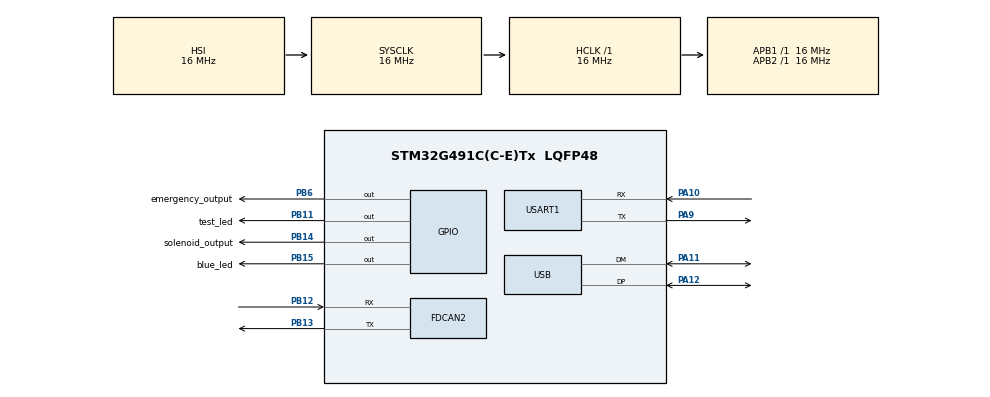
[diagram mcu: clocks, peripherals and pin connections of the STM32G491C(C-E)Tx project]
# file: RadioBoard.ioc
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FDCAN2.CalculateBaudRateNominal=333333
FDCAN2.CalculateTimeBitNominal=3000
FDCAN2.CalculateTimeQuantumNominal=1000.0
Mcu.Family=STM32G4
Mcu.Name=STM32G491C(C-E)Tx
Mcu.Package=LQFP48
NVIC.PriorityGroup=NVIC_PRIORITYGROUP_4
NVIC.USB_LP_IRQn=true\:0\:0\:false\:false\:true\:false\:true\:true
PA10.Mode=Asynchronous
PA10.Signal=USART1_RX
PA11.Mode=Device
PA11.Signal=USB_DM
PA12.Mode=Device
PA12.Signal=USB_DP
PA9.Mode=Asynchronous
PA9.Signal=USART1_TX
PB11.GPIO_Label=test_led
PB11.Signal=GPIO_Output
PB12.Mode=FDCAN_Activate
PB12.Signal=FDCAN2_RX
PB13.Mode=FDCAN_Activate
PB13.Signal=FDCAN2_TX
PB14.GPIO_Label=solenoid_output
PB14.Signal=GPIO_Output
PB15.GPIO_Label=blue_led
PB15.Signal=GPIO_Output
PB6.GPIO_Label=emergency_output
PB6.Signal=GPIO_Output
PC14-OSC32_IN.Mode=LSE-External-Oscillator
PC14-OSC32_IN.Signal=RCC_OSC32_IN
PC15-OSC32_OUT.Mode=LSE-External-Oscillator
PC15-OSC32_OUT.Signal=RCC_OSC32_OUT
PF0-OSC_IN.Mode=HSE-External-Oscillator
PF0-OSC_IN.Signal=RCC_OSC_IN
PF1-OSC_OUT.Mode=HSE-External-Oscillator
PF1-OSC_OUT.Signal=RCC_OSC_OUT
ProjectManager.HeapSize=0x200
ProjectManager.StackSize=0x400
ProjectManager.TargetToolchain=CMake
RCC.AHBFreq_Value=16000000
RCC.APB1Freq_Value=16000000
RCC.APB1TimFreq_Value=16000000
RCC.APB2Freq_Value=16000000
RCC.APB2TimFreq_Value=16000000
RCC.CortexFreq_Value=16000000
RCC.EXTERNAL_CLOCK_VALUE=12288000
RCC.HCLKFreq_Value=16000000
RCC.HSE_VALUE=8000000
RCC.HSI48_VALUE=48000000
RCC.HSI_VALUE=16000000
RCC.SYSCLKFreq_VALUE=16000000
RCC.VCOOutputFreq_Value=128000000
USART1.VirtualMode-Asynchronous=VM_ASYNC
USB_DEVICE.CLASS_NAME_FS=CDC
USB_DEVICE.VirtualMode=Cdc
USB_DEVICE.VirtualModeFS=Cdc_FS
VP_SYS_VS_DBSignals.Mode=DisableDeadBatterySignals
VP_USB_DEVICE_VS_USB_DEVICE_CDC_FS.Mode=CDC_FS
board=custom

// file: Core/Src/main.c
/* USER CODE BEGIN Header */
/**
  ******************************************************************************
  * @file           : main.c
  * @brief          : Main program body
  ******************************************************************************
  * @attention
  *
  * Copyright (c) 2025 STMicroelectronics.
  * All rights reserved.
  *
  * This software is licensed under terms that can be found in the LICENSE file
  * in the root directory of this software component.
  * If no LICENSE file comes with this software, it is provided AS-IS.
  *
  ******************************************************************************
  */
/* USER CODE END Header */
#include "main.h"
#include "usb_device.h"

/* USER CODE BEGIN Includes */
#include <string.h>
#include "usbd_cdc_if.h"
/* USER CODE END Includes */

FDCAN_HandleTypeDef hfdcan2;

UART_HandleTypeDef huart1;

void SystemClock_Config(void);
static void MX_GPIO_Init(void);
static void MX_FDCAN2_Init(void);
static void MX_USART1_UART_Init(void);

int main(void)
{

  /* MCU Configuration--------------------------------------------------------*/

  /* Reset of all peripherals, Initializes the Flash interface and the Systick. */
  HAL_Init();

  /* Configure the system clock */
  SystemClock_Config();

  /* Initialize all configured peripherals */
  MX_GPIO_Init();
  MX_FDCAN2_Init();
  MX_USART1_UART_Init();
  MX_USB_Device_Init();
  /* USER CODE BEGIN 2 */
  HAL_GPIO_WritePin(blue_led_GPIO_Port, blue_led_Pin, GPIO_PIN_SET);
  HAL_GPIO_WritePin(solenoid_output_GPIO_Port, solenoid_output_Pin, GPIO_PIN_RESET);

  FDCAN_FilterTypeDef sFilterConfig;
  sFilterConfig.IdType = FDCAN_STANDARD_ID;
  sFilterConfig.FilterIndex = 0;
  sFilterConfig.FilterType = FDCAN_FILTER_MASK;
  sFilterConfig.FilterConfig = FDCAN_FILTER_TO_RXFIFO0;
  sFilterConfig.FilterID1 = 0x001;
  sFilterConfig.FilterID2 = 0x7FF;
  if (HAL_FDCAN_ConfigFilter(&hfdcan2, &sFilterConfig) != HAL_OK)
  {
    Error_Handler();
  }
  if (HAL_FDCAN_Start(&hfdcan2) != HAL_OK)
  {
    Error_Handler();
  }

  FDCAN_RxHeaderTypeDef rxHeader;
  uint8_t rx_data[8];

  /* USER CODE END 2 */

  /* Infinite loop */
  while (1)
  {

    /* USER CODE BEGIN 3 */
    if (HAL_FDCAN_GetRxFifoFillLevel(&hfdcan2, FDCAN_RX_FIFO0) > 0)
    {
      if (HAL_FDCAN_GetRxMessage(&hfdcan2, FDCAN_RX_FIFO0, &rxHeader, rx_data) == HAL_OK)
      {
        if (rxHeader.Identifier == 0x01 && rxHeader.DataLength == FDCAN_DLC_BYTES_8)
        {
          uint8_t calculated_checksum = rx_data[0] ^ rx_data[1] ^ rx_data[2] ^ rx_data[3] ^
                                        rx_data[4] ^ rx_data[5] ^ rx_data[6];

          if (calculated_checksum == rx_data[7])
          {
            uint8_t radio_packet[8];
            radio_packet[0] = 0x01;
            memcpy(&radio_packet[1], rx_data, 6);
            radio_packet[7] = '\n';
            HAL_UART_Transmit(&huart1, radio_packet, 8, 10);
            HAL_GPIO_TogglePin(blue_led_GPIO_Port, blue_led_Pin);
          }
        }
      }
    }

    uint8_t rx_byte;
    HAL_StatusTypeDef status = HAL_UART_Receive(&huart1, &rx_byte, 1, 1);

    if (status == HAL_OK)
    {
      printf("Received byte: %c (0x%02X)\r\n", rx_byte, rx_byte);
      if (rx_byte == 'V')
      {
        HAL_GPIO_TogglePin(test_led_GPIO_Port, test_led_Pin);
        HAL_GPIO_TogglePin(solenoid_output_GPIO_Port, solenoid_output_Pin);
      }
    }

    HAL_Delay(10);
  }
  /* USER CODE END 3 */
}

void SystemClock_Config(void)
{
  RCC_OscInitTypeDef RCC_OscInitStruct = {0};
  RCC_ClkInitTypeDef RCC_ClkInitStruct = {0};

  /** Configure the main internal regulator output voltage
  */
  HAL_PWREx_ControlVoltageScaling(PWR_REGULATOR_VOLTAGE_SCALE1);

  /** Initializes the RCC Oscillators according to the specified parameters
  * in the RCC_OscInitTypeDef structure.
  */
  RCC_OscInitStruct.OscillatorType = RCC_OSCILLATORTYPE_HSI|RCC_OSCILLATORTYPE_HSI48;
  RCC_OscInitStruct.HSIState = RCC_HSI_ON;
  RCC_OscInitStruct.HSICalibrationValue = RCC_HSICALIBRATION_DEFAULT;
  RCC_OscInitStruct.HSI48State = RCC_HSI48_ON;
  RCC_OscInitStruct.PLL.PLLState = RCC_PLL_NONE;
  if (HAL_RCC_OscConfig(&RCC_OscInitStruct) != HAL_OK)
  {
    Error_Handler();
  }

  /** Initializes the CPU, AHB and APB buses clocks
  */
  RCC_ClkInitStruct.ClockType = RCC_CLOCKTYPE_HCLK|RCC_CLOCKTYPE_SYSCLK
                              |RCC_CLOCKTYPE_PCLK1|RCC_CLOCKTYPE_PCLK2;
  RCC_ClkInitStruct.SYSCLKSource = RCC_SYSCLKSOURCE_HSI;
  RCC_ClkInitStruct.AHBCLKDivider = RCC_SYSCLK_DIV1;
  RCC_ClkInitStruct.APB1CLKDivider = RCC_HCLK_DIV1;
  RCC_ClkInitStruct.APB2CLKDivider = RCC_HCLK_DIV1;

  if (HAL_RCC_ClockConfig(&RCC_ClkInitStruct, FLASH_LATENCY_0) != HAL_OK)
  {
    Error_Handler();
  }
}

static void MX_FDCAN2_Init(void)
{

  hfdcan2.Instance = FDCAN2;
  hfdcan2.Init.ClockDivider = FDCAN_CLOCK_DIV1;
  hfdcan2.Init.FrameFormat = FDCAN_FRAME_CLASSIC;
  hfdcan2.Init.Mode = FDCAN_MODE_NORMAL;
  hfdcan2.Init.AutoRetransmission = DISABLE;
  hfdcan2.Init.TransmitPause = DISABLE;
  hfdcan2.Init.ProtocolException = DISABLE;
  hfdcan2.Init.NominalPrescaler = 2;
  hfdcan2.Init.NominalSyncJumpWidth = 1;
  hfdcan2.Init.NominalTimeSeg1 = 13;
  hfdcan2.Init.NominalTimeSeg2 = 2;
  hfdcan2.Init.DataPrescaler = 1;
  hfdcan2.Init.DataSyncJumpWidth = 1;
  hfdcan2.Init.DataTimeSeg1 = 1;
  hfdcan2.Init.DataTimeSeg2 = 1;
  hfdcan2.Init.StdFiltersNbr = 0;
  hfdcan2.Init.ExtFiltersNbr = 0;
  hfdcan2.Init.TxFifoQueueMode = FDCAN_TX_FIFO_OPERATION;
  if (HAL_FDCAN_Init(&hfdcan2) != HAL_OK)
  {
    Error_Handler();
  }

}

static void MX_USART1_UART_Init(void)
{

  huart1.Instance = USART1;
  huart1.Init.BaudRate = 57600;
  huart1.Init.WordLength = UART_WORDLENGTH_8B;
  huart1.Init.StopBits = UART_STOPBITS_1;
  huart1.Init.Parity = UART_PARITY_NONE;
  huart1.Init.Mode = UART_MODE_TX_RX;
  huart1.Init.HwFlowCtl = UART_HWCONTROL_NONE;
  huart1.Init.OverSampling = UART_OVERSAMPLING_16;
  huart1.Init.OneBitSampling = UART_ONE_BIT_SAMPLE_DISABLE;
  huart1.Init.ClockPrescaler = UART_PRESCALER_DIV1;
  huart1.AdvancedInit.AdvFeatureInit = UART_ADVFEATURE_NO_INIT;
  if (HAL_UART_Init(&huart1) != HAL_OK)
  {
    Error_Handler();
  }
  if (HAL_UARTEx_SetTxFifoThreshold(&huart1, UART_TXFIFO_THRESHOLD_1_8) != HAL_OK)
  {
    Error_Handler();
  }
  if (HAL_UARTEx_SetRxFifoThreshold(&huart1, UART_RXFIFO_THRESHOLD_1_8) != HAL_OK)
  {
    Error_Handler();
  }
  if (HAL_UARTEx_DisableFifoMode(&huart1) != HAL_OK)
  {
    Error_Handler();
  }

}

static void MX_GPIO_Init(void)
{
  GPIO_InitTypeDef GPIO_InitStruct = {0};

  /* GPIO Ports Clock Enable */
  __HAL_RCC_GPIOC_CLK_ENABLE();
  __HAL_RCC_GPIOF_CLK_ENABLE();
  __HAL_RCC_GPIOB_CLK_ENABLE();
  __HAL_RCC_GPIOA_CLK_ENABLE();

  /*Configure GPIO pin Output Level */
  HAL_GPIO_WritePin(GPIOB, test_led_Pin|solenoid_output_Pin|blue_led_Pin|emergency_output_Pin, GPIO_PIN_RESET);

  /*Configure GPIO pins : test_led_Pin solenoid_output_Pin blue_led_Pin emergency_output_Pin */
  GPIO_InitStruct.Pin = test_led_Pin|solenoid_output_Pin|blue_led_Pin|emergency_output_Pin;
  GPIO_InitStruct.Mode = GPIO_MODE_OUTPUT_PP;
  GPIO_InitStruct.Pull = GPIO_NOPULL;
  GPIO_InitStruct.Speed = GPIO_SPEED_FREQ_LOW;
  HAL_GPIO_Init(GPIOB, &GPIO_InitStruct);

}

/* USER CODE BEGIN 4 */
#ifdef __GNUC__
int _write(int file, char *ptr, int len)
{
    CDC_Transmit_FS((uint8_t*)ptr, len);
    return len;
}
#else
int fputc(int ch, FILE *f)
{
    CDC_Transmit_FS((uint8_t *)&ch, 1);
    return ch;
}
#endif /* __GNUC__ */
/* USER CODE END 4 */

void Error_Handler(void)
{
  __disable_irq();
  while (1)
  {
  }
}
